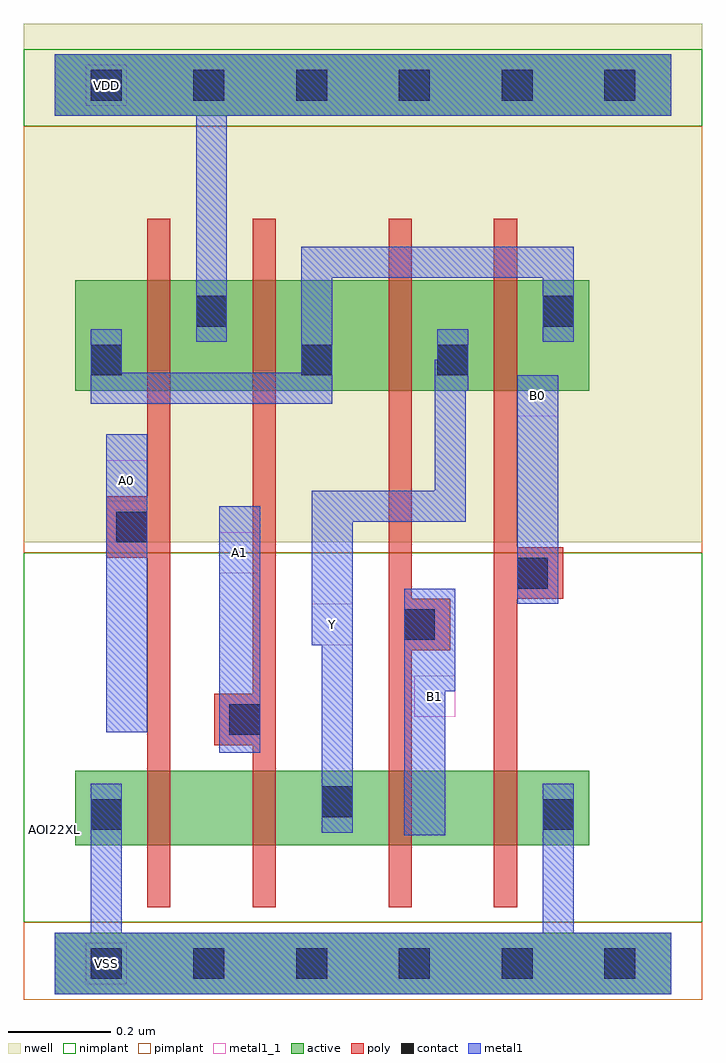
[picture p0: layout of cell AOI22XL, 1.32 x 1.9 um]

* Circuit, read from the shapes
.subckt AOI22XL A0 A1 B0 B1 VDD VSS Y
M1 n1 A0 VSS VSS nfet w=0.145u l=0.045u
M2 Y A1 n1 VSS nfet w=0.145u l=0.045u
M3 n2 B1 Y VSS nfet w=0.145u l=0.045u
M4 VSS B0 n2 VSS nfet w=0.145u l=0.045u
M5 VDD A0 n3 VDD pfet w=0.215u l=0.045u
M6 n3 A1 VDD VDD pfet w=0.215u l=0.045u
M7 Y B1 n3 VDD pfet w=0.215u l=0.045u
M8 n3 B0 Y VDD pfet w=0.215u l=0.045u
.ends

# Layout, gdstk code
import gdstk
lib = gdstk.Library(unit=1e-6, precision=5e-10)
def R(c, l, rs):  # rectangles x0, y0, x1, y1
    for r in rs: c.add(gdstk.rectangle(r[:2], r[2:], *l))
def A(c, l, x, y, w, h, nx, ny, dx, dy):  # array of equal rectangles
    R(c, l, [(x+i*dx, y+j*dy, x+i*dx+w, y+j*dy+h) for i in range(nx) for j in range(ny)])
def P(c, l, *ps):  # polygons
    for p in ps: c.add(gdstk.Polygon(p, *l))
active = (1, 0)
nwell = (2, 0)
poly = (3, 0)
nimplant = (4, 0)
pimplant = (5, 0)
contact = (6, 0)
metal1 = (7, 0)
metal1_1 = (7, 1)

aoi22xl = lib.new_cell('AOI22XL')
R(aoi22xl, active, [(0,-0.06,1.2,0.06), (0.04,0.23,1.04,0.375), (0.04,1.115,1.04,1.33), (0,1.65,1.2,1.77)])
R(aoi22xl, nwell, [(-0.06,0.82,1.26,1.83)])
P(aoi22xl, poly, [(0.18,1.45),(0.225,1.45),(0.225,0.11),(0.18,0.11),(0.18,0.79),(0.1,0.79),(0.1,0.91),(0.18,0.91)],
  [(0.385,1.45),(0.43,1.45),(0.43,0.11),(0.385,0.11),(0.385,0.425),(0.31,0.425),(0.31,0.525),(0.385,0.525)],
  [(0.65,1.45),(0.695,1.45),(0.695,0.71),(0.77,0.71),(0.77,0.61),(0.695,0.61),(0.695,0.11),(0.65,0.11)],
  [(0.855,1.45),(0.9,1.45),(0.9,0.81),(0.99,0.81),(0.99,0.71),(0.9,0.71),(0.9,0.11),(0.855,0.11)])
R(aoi22xl, nimplant, [(-0.06,0.08,1.26,0.8), (-0.06,1.63,1.26,1.78)])
R(aoi22xl, pimplant, [(-0.06,-0.07,1.26,0.08), (-0.06,0.8,1.26,1.63)])
A(aoi22xl, contact, 0.07, -0.03, 0.06, 0.06, 6, 2, 0.2, 1.71)
R(aoi22xl, contact, [(0.07,0.26,0.13,0.32), (0.95,0.26,1.01,0.32), (0.52,0.285,0.58,0.345), (0.34,0.445,0.4,0.505), (0.68,0.63,0.74,0.69), (0.9,0.73,0.96,0.79), (0.12,0.82,0.18,0.88), (0.07,1.145,0.13,1.205), (0.48,1.145,0.54,1.205), (0.745,1.145,0.805,1.205), (0.275,1.24,0.335,1.3), (0.95,1.24,1.01,1.3)])
R(aoi22xl, metal1, [(0.32,0.41,0.4,0.89), (0.1,0.45,0.18,1.03), (0.9,0.7,0.98,1.145)])
P(aoi22xl, metal1, [(0,1.77),(1.2,1.77),(1.2,1.65),(0.335,1.65),(0.335,1.21),(0.275,1.21),(0.275,1.65),(0,1.65)],
  [(1.01,1.395),(0.48,1.395),(0.48,1.15),(0.13,1.15),(0.13,1.235),(0.07,1.235),(0.07,1.09),(0.54,1.09),(0.54,1.335),(0.95,1.335),(0.95,1.21),(1.01,1.21)],
  [(0.745,1.235),(0.805,1.235),(0.805,1.115),(0.8,1.115),(0.8,0.86),(0.58,0.86),(0.58,0.255),(0.52,0.255),(0.52,0.62),(0.5,0.62),(0.5,0.92),(0.74,0.92),(0.74,1.175),(0.745,1.175)],
  [(0.07,0.35),(0.13,0.35),(0.13,0.06),(0.95,0.06),(0.95,0.35),(1.01,0.35),(1.01,0.06),(1.2,0.06),(1.2,-0.06),(0,-0.06),(0,0.06),(0.07,0.06)],
  [(0.68,0.73),(0.78,0.73),(0.78,0.53),(0.76,0.53),(0.76,0.25),(0.68,0.25)])
R(aoi22xl, metal1_1, [(0.06,-0.04,0.14,0.04), (0.7,0.48,0.78,0.56), (0.5,0.62,0.58,0.7), (0.32,0.76,0.4,0.84), (0.1,0.9,0.18,0.98), (0.9,1.065,0.98,1.145), (0.06,1.67,0.14,1.75)])
aoi22xl.add(gdstk.Label('VSS', (0.1,0), layer=7, texttype=1))
aoi22xl.add(gdstk.Label('Y', (0.54,0.66), layer=7, texttype=1))
aoi22xl.add(gdstk.Label('A0', (0.14,0.94), layer=7, texttype=1))
aoi22xl.add(gdstk.Label('B0', (0.94,1.105), layer=7, texttype=1))
aoi22xl.add(gdstk.Label('B1', (0.74,0.52), layer=7, texttype=1))
aoi22xl.add(gdstk.Label('A1', (0.36,0.8), layer=7, texttype=1))
aoi22xl.add(gdstk.Label('VDD', (0.1,1.71), layer=7, texttype=1))
aoi22xl.add(gdstk.Label('AOI22XL', (0,0.26), layer=63, texttype=0))

lib.write_gds('AOI22XL.gds')
